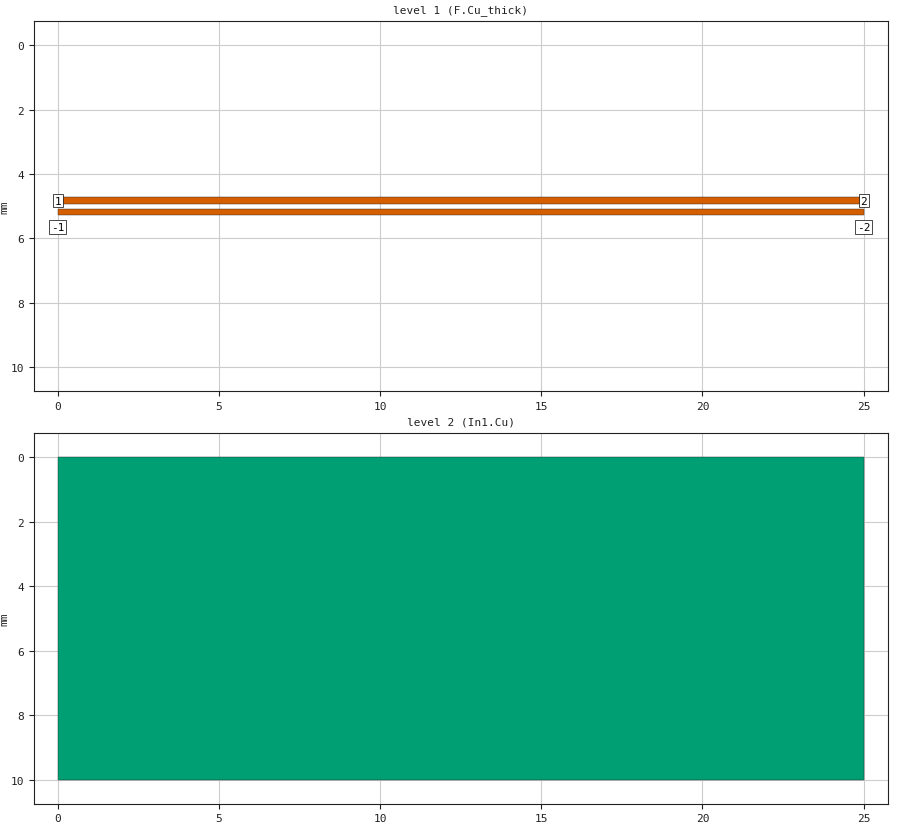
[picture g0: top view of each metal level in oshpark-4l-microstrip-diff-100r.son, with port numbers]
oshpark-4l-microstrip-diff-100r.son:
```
FTYP SONPROJ 19 ! Sonnet Project File
VER 18.56
HEADER
LIC antikernel2.1.65565
DAT 11/11/2024 22:42:16
BUILT_BY_CREATED xgeom 18.56 01/25/2024 07:41:08
BUILT_BY_SAVED sonnet 18.56
MDATE 01/25/2024 11:45:06
HDATE 01/25/2024 11:45:06
END HEADER
DIM
ANG DEG
CAP PF
CON /OH
FREQ GHZ
IND NH
LNG MM
RES OH
END DIM
CONTROL
VARSWP
OPTIONS  -d
SPEED 0
CACHE_ABS 2
Q_ACC N
END CONTROL
GEO
TMET "Free Space" 0 FREESPACE 376.7303136 0 0 0
BMET "Free Space" 0 FREESPACE 376.7303136 0 0 0
MET "Copper_1oz+plated_thick_up" 1 TMM 58000000 0.5 0.0432 2
MET "Copper_1oz+plated_thin" 4 NOR 58000000 0.5 0.0432 
MET "Copper_0.5oz_thin" 2 NOR 58000000 0.5 0.0175 
MET "Copper_1oz+plated_thick_down" 3 TMM 58000000 0.5 0.0432 2 CDVY TDWN
BOX 6 25 10 5000 2000 20 0
      10 1 1 0 0 0 0 "Air"
      0.05 3.5 1 0.02 0 0 0 "Soldermask"
      0.2021 3.61 1 0.0092 0 0 0 "Isola_FR408HR"
      1.1938 3.61 1 0.0092 0 0 0 "Isola_FR408HR"
      0.2021 3.61 1 0.0092 0 0 0 "Isola_FR408HR"
      0.05 3.5 1 0.02 0 0 0 "Soldermask"
      10 1 1 0 0 0 0 "Air"
TECHLAY METAL F.Cu_thick <UNSPECIFIED> -1 -65534 CAD F.Cu drawing 
1 0 0 N 105 1 1 100 100 0 0 0 Y
END
END
TECHLAY METAL F.Cu_thin <UNSPECIFIED> -2 -65534 CAD F.Cu_thin drawing 
1 0 1 N 111 1 1 100 100 0 0 0 Y
END
END
TECHLAY VIA Via1 <UNSPECIFIED> -7 -65534 CAD Via1 drawing 
VIA POLYGON
1 0 -1 N 152 1 1 100 100 0 0 0 Y
TOLEVEL 4 RING NOCOVERS
END
END
TECHLAY METAL In1.Cu <UNSPECIFIED> -3 -65534 CAD In1.Cu drawing 
2 0 2 N 116 1 1 100 100 0 0 0 Y
END
END
TECHLAY METAL In2.Cu <UNSPECIFIED> -4 -65534 CAD In2.Cu drawing 
3 0 2 N 119 1 1 100 100 0 0 0 Y
END
END
TECHLAY METAL B.Cu_thick <UNSPECIFIED> -5 -65534 CAD B.Cu drawing 
4 0 3 N 122 1 1 100 100 0 0 0 Y
END
END
TECHLAY METAL B.Cu_thin <UNSPECIFIED> -6 -65534 CAD B.Cu_thin drawing 
4 0 1 N 124 1 1 100 100 0 0 0 Y
END
END
VALVAR WIDTH LNG 0.2 "Dim. Param."
VALVAR WIDTH2 LNG "WIDTH" "Dim. Param."
VALVAR SPACE LNG 0.15 "Dim. Param."
LORGN 0 10 U 
POR1 BOX
POLY 58 1
3
1 100 0 0 0 0 4.825 
POR1 BOX
POLY 58 1
1
2 100 0 0 0 25 4.825 
POR1 BOX
POLY 91 1
3
-1 100 0 0 0 0 5.175 
POR1 BOX
POLY 91 1
1
-2 100 0 0 0 25 5.175 
NUM 3
1 5 0 N 58 1 1 100 100 0 0 0 Y
TLAYNAM F.Cu_thick INH
0 4.725
25 4.725
25 4.925
0 4.925
0 4.725
END
1 5 0 N 91 1 1 100 100 0 0 0 Y
TLAYNAM F.Cu_thick INH
0 5.075
25 5.075
25 5.275
0 5.275
0 5.075
END
2 5 2 N 73 1 1 100 100 0 0 0 Y
TLAYNAM In1.Cu INH
0 0
25 0
25 10
0 10
0 0
END
END GEO
OPT
MAX 100
END OPT
VARSWP
SWPVARS ON
ENABLED Y
FREQ Y AY ABS_ENTRY 0.01 40.0 -1 300 
VAR WIDTH N 0.15 0.25 0.05
VAR SPACE N 0.15 0.25 0.05
END
END VARSWP
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```
